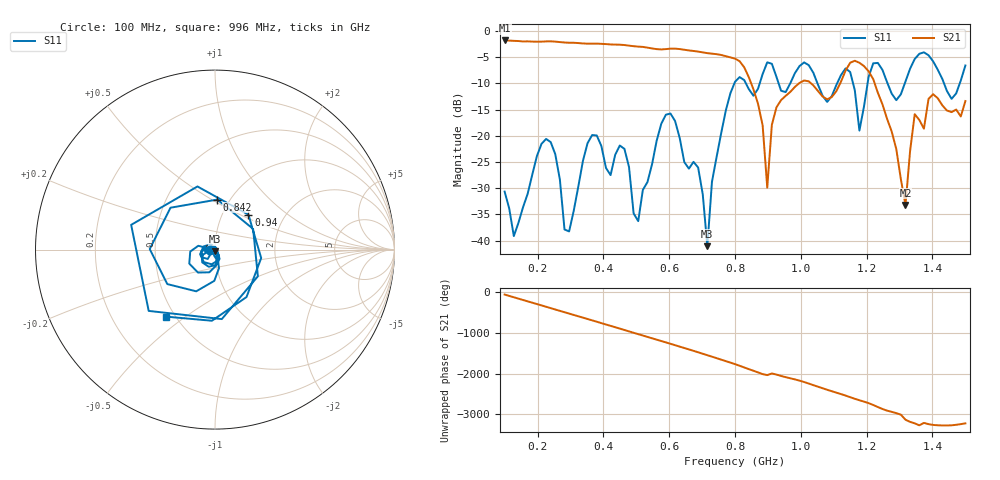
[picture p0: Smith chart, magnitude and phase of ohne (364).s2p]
! NanoVNA-App
! Date: 2025-09-25 14:23:37
! Start: 100MHz Stop: 1,5GHz Points: 101
! S-Parameter data: F S11 S21 S12 S22
# Hz S RI R 50
!  Frequency  S11_Real  S11_Imag  S21_Real  S21_Imag  S12_Real  S12_Imag  S22_Real  S22_Imag
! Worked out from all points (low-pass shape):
!   101 points, 100 MHz to 1.5 GHz, reference 50 ohm
!   highest |S21| = -1.79 dB at 100 MHz (marker M1); lowest = -33.2 dB at 1.318 GHz (marker M2)
!   |S21| within 3 dB of the highest: start of sweep to 772.1 MHz
!   lowest |S11| = -41.1 dB at 716 MHz (marker M3), VSWR 1.02, Z = 49.9 - j0.874 ohm
!   |S11| at or under -10 dB: start of sweep to 798 MHz; 833.2 MHz to 875 MHz (41.84 MHz wide, 4.9 % of centre); 1.051 GHz to 1.11 GHz (59.5 MHz wide, 5.51 % of centre) (the widest 3 of 7)
!   S12 and S22 are empty: the file has one direction only
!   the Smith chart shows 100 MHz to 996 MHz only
!   S11 on the Smith chart (normalised r, x): 100 MHz: 0.94, -0.01; 842 MHz: 0.88, +0.53; 940 MHz: 1.32, +0.56; 996 MHz: 0.45, -0.42
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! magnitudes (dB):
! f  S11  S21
! 100 MHz  -30.6  -1.8
! 128 MHz  -39.1  -1.9
! 226 MHz  -20.6  -2.0
! 296 MHz  -38.2  -2.2
! 338 MHz  -24.8  -2.4
! 464 MHz  -22.5  -2.7
! 506 MHz  -36.3  -3.0
! 576 MHz  -17.7  -3.5
! 688 MHz  -26.0  -3.9
! 716 MHz  -41.1  -4.2
! 800 MHz  -9.7  -5.3
! 842 MHz  -11.1  -8.8
! 898 MHz  -6.0  -29.9
! 940 MHz  -11.4  -13.2
! 996 MHz  -6.7  -9.9
! 1.038 GHz  -8.0  -10.4
! 1.178 GHz  -19.0  -6.1
! 1.22 GHz  -6.2  -9.2
! 1.276 GHz  -11.9  -19.2
! 1.318 GHz  -9.6  -33.2
! 1.346 GHz  -5.3  -15.9
! 1.5 GHz  -6.6  -13.4
